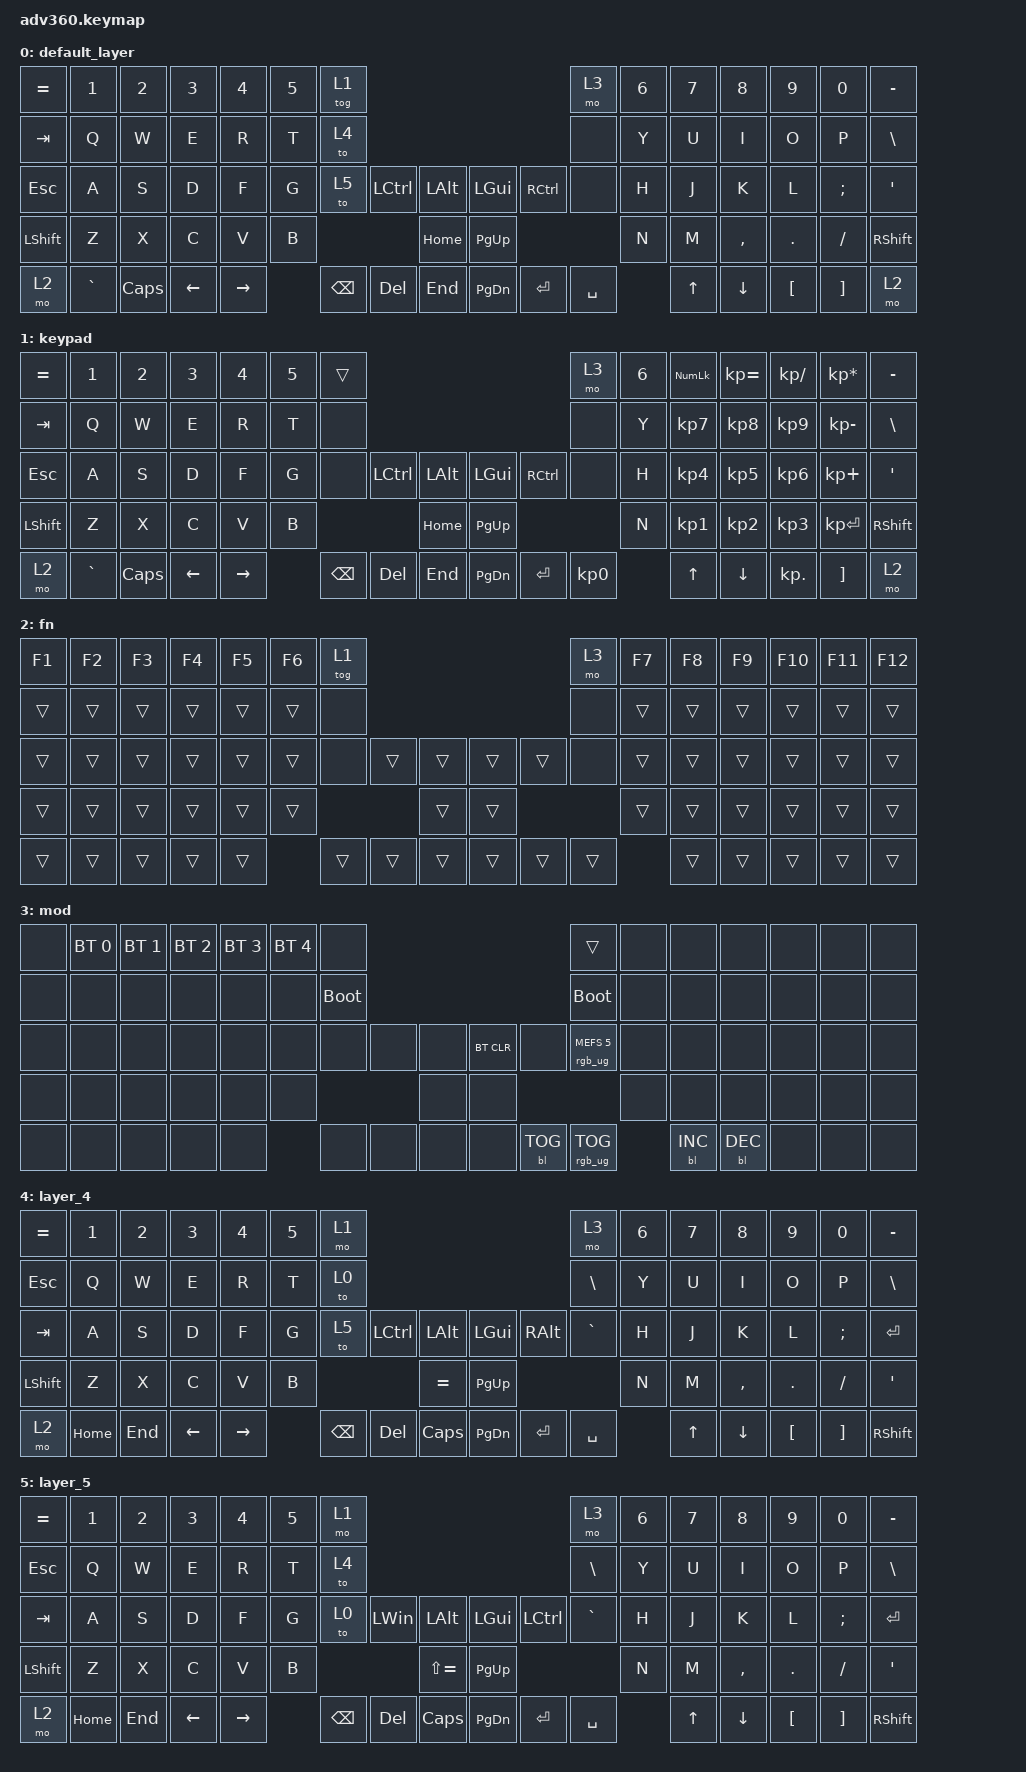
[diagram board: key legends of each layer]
#include <behaviors.dtsi>
#include <dt-bindings/zmk/backlight.h>
#include <dt-bindings/zmk/bt.h>
#include <dt-bindings/zmk/keys.h>
#include <dt-bindings/zmk/rgb.h>

/ {
    behaviors {
        #include "macros.dtsi"

        hm: homerow_mods {
            compatible = "zmk,behavior-hold-tap";
            label = "HOMEROW_MODS";
            #binding-cells = <2>;
            tapping-term-ms = <200>;
            quick_tap_ms = <175>;
            flavor = "tap-preferred";
            bindings = <&kp>, <&kp>;
        };
    };

    keymap {
        compatible = "zmk,keymap";

        default_layer {
            bindings = <
&kp EQUAL  &kp N1     &kp N2    &kp N3    &kp N4     &kp N5  &tog 1                                                   &mo 3      &kp N6  &kp N7  &kp N8     &kp N9    &kp N0    &kp MINUS
&kp TAB    &kp Q      &kp W     &kp E     &kp R      &kp T   &to 4                                                    &none      &kp Y   &kp U   &kp I      &kp O     &kp P     &kp BSLH
&kp ESC    &kp A      &kp S     &kp D     &kp F      &kp G   &to 5     &kp LCTRL  &kp LALT      &kp LGUI   &kp RCTRL  &none      &kp H   &kp J   &kp K      &kp L     &kp SEMI  &kp SQT
&kp LSHFT  &kp Z      &kp X     &kp C     &kp V      &kp B                        &kp HOME      &kp PG_UP                        &kp N   &kp M   &kp COMMA  &kp DOT   &kp FSLH  &kp RSHFT
&mo 2      &kp GRAVE  &kp CAPS  &kp LEFT  &kp RIGHT          &kp BSPC  &kp DEL    &kp END       &kp PG_DN  &kp ENTER  &kp SPACE          &kp UP  &kp DOWN   &kp LBKT  &kp RBKT  &mo 2
            >;
        };

        keypad {
            bindings = <
&kp EQUAL  &kp N1     &kp N2    &kp N3    &kp N4     &kp N5  &trans                                                   &mo 3      &kp N6  &kp KP_NUM  &kp KP_EQUAL  &kp KP_DIVIDE  &kp KP_MULTIPLY  &kp MINUS
&kp TAB    &kp Q      &kp W     &kp E     &kp R      &kp T   &none                                                    &none      &kp Y   &kp KP_N7   &kp KP_N8     &kp KP_N9      &kp KP_MINUS     &kp BSLH
&kp ESC    &kp A      &kp S     &kp D     &kp F      &kp G   &none     &kp LCTRL  &kp LALT      &kp LGUI   &kp RCTRL  &none      &kp H   &kp KP_N4   &kp KP_N5     &kp KP_N6      &kp KP_PLUS      &kp SQT
&kp LSHFT  &kp Z      &kp X     &kp C     &kp V      &kp B                        &kp HOME      &kp PG_UP                        &kp N   &kp KP_N1   &kp KP_N2     &kp KP_N3      &kp KP_ENTER     &kp RSHFT
&mo 2      &kp GRAVE  &kp CAPS  &kp LEFT  &kp RIGHT          &kp BSPC  &kp DEL    &kp END       &kp PG_DN  &kp ENTER  &kp KP_N0          &kp UP      &kp DOWN      &kp KP_DOT     &kp RBKT         &mo 2
            >;
        };

        fn {
            bindings = <
&kp F1  &kp F2  &kp F3  &kp F4  &kp F5  &kp F6  &tog 1                                      &mo 3   &kp F7  &kp F8  &kp F9  &kp F10  &kp F11  &kp F12
&trans  &trans  &trans  &trans  &trans  &trans  &none                                       &none   &trans  &trans  &trans  &trans   &trans   &trans
&trans  &trans  &trans  &trans  &trans  &trans  &none   &trans  &trans      &trans  &trans  &none   &trans  &trans  &trans  &trans   &trans   &trans
&trans  &trans  &trans  &trans  &trans  &trans                  &trans      &trans                  &trans  &trans  &trans  &trans   &trans   &trans
&trans  &trans  &trans  &trans  &trans          &trans  &trans  &trans      &trans  &trans  &trans          &trans  &trans  &trans   &trans   &trans
            >;
        };

        mod {
            bindings = <
&none  &bt BT_SEL 0  &bt BT_SEL 1  &bt BT_SEL 2  &bt BT_SEL 3  &bt BT_SEL 4  &none                                                  &trans                  &none  &none       &none       &none  &none  &none
&none  &none         &none         &none         &none         &none         &bootloader                                            &bootloader             &none  &none       &none       &none  &none  &none
&none  &none         &none         &none         &none         &none         &none        &none  &none      &bt BT_CLR  &none       &rgb_ug RGB_MEFS_CMD 5  &none  &none       &none       &none  &none  &none
&none  &none         &none         &none         &none         &none                             &none      &none                                           &none  &none       &none       &none  &none  &none
&none  &none         &none         &none         &none                       &none        &none  &none      &none       &bl BL_TOG  &rgb_ug RGB_TOG                &bl BL_INC  &bl BL_DEC  &none  &none  &none
            >;
        };

        layer_4 {
            bindings = <
&kp EQUAL       &kp N1    &kp N2   &kp N3    &kp N4     &kp N5  &mo 1                                                                       &mo 3      &kp N6  &kp N7  &kp N8     &kp N9    &kp N0    &kp MINUS
&kp ESCAPE      &kp Q     &kp W    &kp E     &kp R      &kp T   &to 0                                                                       &kp BSLH   &kp Y   &kp U   &kp I      &kp O     &kp P     &kp BACKSLASH
&kp TAB         &kp A     &kp S    &kp D     &kp F      &kp G   &to 5     &kp LEFT_CONTROL  &kp LEFT_ALT      &kp LGUI       &kp RIGHT_ALT  &kp GRAVE  &kp H   &kp J   &kp K      &kp L     &kp SEMI  &kp RET
&kp LEFT_SHIFT  &kp Z     &kp X    &kp C     &kp V      &kp B                               &kp EQUAL         &kp PAGE_UP                              &kp N   &kp M   &kp COMMA  &kp DOT   &kp FSLH  &kp SINGLE_QUOTE
&mo 2           &kp HOME  &kp END  &kp LEFT  &kp RIGHT          &kp BSPC  &kp DEL           &kp CAPSLOCK      &kp PAGE_DOWN  &kp RETURN     &kp SPACE          &kp UP  &kp DOWN   &kp LBKT  &kp RBKT  &kp RIGHT_SHIFT
            >;
        };

        layer_5 {
            bindings = <
&kp EQUAL       &kp N1    &kp N2   &kp N3    &kp N4     &kp N5  &mo 1                                                                       &mo 3      &kp N6  &kp N7  &kp N8     &kp N9    &kp N0    &kp MINUS
&kp ESCAPE      &kp Q     &kp W    &kp E     &kp R      &kp T   &to 4                                                                       &kp BSLH   &kp Y   &kp U   &kp I      &kp O     &kp P     &kp BACKSLASH
&kp TAB         &kp A     &kp S    &kp D     &kp F      &kp G   &to 0     &kp LEFT_WIN  &kp LEFT_ALT       &kp LGUI       &kp LEFT_CONTROL  &kp GRAVE  &kp H   &kp J   &kp K      &kp L     &kp SEMI  &kp RET
&kp LEFT_SHIFT  &kp Z     &kp X    &kp C     &kp V      &kp B                           &kp LS(EQUAL)      &kp PAGE_UP                                 &kp N   &kp M   &kp COMMA  &kp DOT   &kp FSLH  &kp SINGLE_QUOTE
&mo 2           &kp HOME  &kp END  &kp LEFT  &kp RIGHT          &kp BSPC  &kp DEL       &kp CAPSLOCK       &kp PAGE_DOWN  &kp RETURN        &kp SPACE          &kp UP  &kp DOWN   &kp LBKT  &kp RBKT  &kp RIGHT_SHIFT
            >;
        };
    };
};
